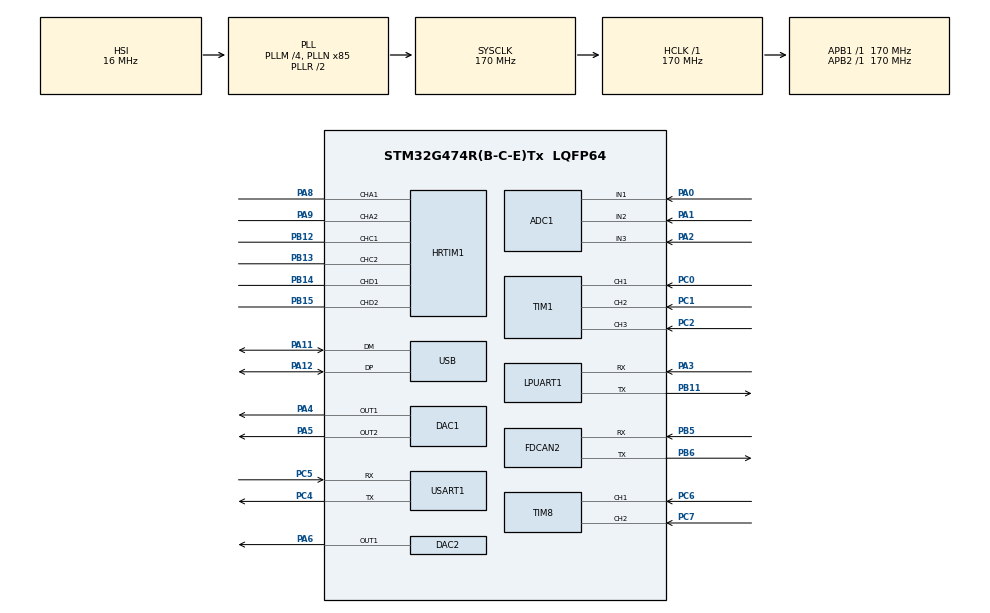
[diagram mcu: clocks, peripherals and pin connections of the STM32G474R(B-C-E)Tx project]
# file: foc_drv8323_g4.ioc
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ADC1.Channel-0\#ChannelRegularConversion=ADC_CHANNEL_1
ADC1.NbrOfConversionFlag=1
ADC1.OffsetNumber-0\#ChannelRegularConversion=ADC_OFFSET_NONE
ADC1.Rank-0\#ChannelRegularConversion=1
ADC1.SamplingTime-0\#ChannelRegularConversion=ADC_SAMPLETIME_2CYCLES_5
ADC1.master=1
DAC1.DAC_Channel-DAC_OUT2=DAC_CHANNEL_2
FDCAN2.CalculateBaudRateNominal=3541666
FDCAN2.CalculateTimeBitNominal=282
FDCAN2.CalculateTimeQuantumNominal=94.11764705882354
HRTIM1.CompareUnit1-Output_TA1TA2=HRTIM_COMPAREUNIT_1
HRTIM1.CompareUnit1-Output_TC1TC2=HRTIM_COMPAREUNIT_1
HRTIM1.CompareUnit1-Output_TD1TD2=HRTIM_COMPAREUNIT_1
HRTIM1.CompareValue1-Output_TA1TA2=0x8000
HRTIM1.CompareValue1-Output_TC1TC2=0x8000
HRTIM1.CompareValue1-Output_TD1TD2=0x8000
HRTIM1.Configuration_TA=Waveform
HRTIM1.Configuration_TC=Waveform
HRTIM1.Configuration_TD=Waveform
HRTIM1.Deadtimeconfig-Output_TA1TA2=HRTIM_TIMERINDEX_TIMER_A
HRTIM1.Deadtimeconfig-Output_TC1TC2=HRTIM_TIMERINDEX_TIMER_C
HRTIM1.Deadtimeconfig-Output_TD1TD2=HRTIM_TIMERINDEX_TIMER_D
HRTIM1.FallingValue-Output_TA1TA2=17
HRTIM1.FallingValue-Output_TC1TC2=17
HRTIM1.FallingValue-Output_TD1TD2=17
HRTIM1.NumberResetSource1-Output_TA1TA2=1
HRTIM1.NumberResetSource1-Output_TC1TC2=1
HRTIM1.NumberResetSource1-Output_TD1TD2=1
HRTIM1.NumberResetSource2_TA=1
HRTIM1.NumberResetSource2_TC=1
HRTIM1.NumberResetSource2_TD=1
HRTIM1.NumberSetSource1-Output_TA1TA2=1
HRTIM1.NumberSetSource1-Output_TC1TC2=1
HRTIM1.NumberSetSource1-Output_TD1TD2=1
HRTIM1.NumberSetSource2_TA=1
HRTIM1.NumberSetSource2_TC=1
HRTIM1.NumberSetSource2_TD=1
HRTIM1.Periode_TA=0xff00
HRTIM1.Periode_TC=0xff00
HRTIM1.Periode_TD=0xFF00
HRTIM1.PrescalerDead-Output_TA1TA2=HRTIM_TIMDEADTIME_PRESCALERRATIO_DIV1
HRTIM1.PrescalerDead-Output_TC1TC2=HRTIM_TIMDEADTIME_PRESCALERRATIO_DIV1
HRTIM1.PrescalerDead-Output_TD1TD2=HRTIM_TIMDEADTIME_PRESCALERRATIO_DIV1
HRTIM1.PrescalerRatio_TA=HRTIM_PRESCALERRATIO_MUL4
HRTIM1.PrescalerRatio_TC=HRTIM_PRESCALERRATIO_MUL4
HRTIM1.PrescalerRatio_TD=HRTIM_PRESCALERRATIO_MUL4
HRTIM1.ResetOutput1_Source1-Output_TA1TA2=HRTIM_OUTPUTRESET_TIMCMP1
HRTIM1.ResetOutput1_Source1-Output_TC1TC2=HRTIM_OUTPUTRESET_TIMCMP1
HRTIM1.ResetOutput1_Source1-Output_TD1TD2=HRTIM_OUTPUTRESET_TIMCMP1
HRTIM1.ResetOutput2_Source1-Output_TA1TA2=HRTIM_OUTPUTRESET_TIMPER
HRTIM1.ResetOutput2_Source1-Output_TC1TC2=HRTIM_OUTPUTRESET_TIMPER
HRTIM1.ResetOutput2_Source1-Output_TD1TD2=HRTIM_OUTPUTRESET_TIMPER
HRTIM1.RisingValue-Output_TA1TA2=17
HRTIM1.RisingValue-Output_TC1TC2=17
HRTIM1.RisingValue-Output_TD1TD2=17
HRTIM1.SetOutput1_Source1-Output_TA1TA2=HRTIM_OUTPUTSET_TIMPER
HRTIM1.SetOutput1_Source1-Output_TC1TC2=HRTIM_OUTPUTSET_TIMPER
HRTIM1.SetOutput1_Source1-Output_TD1TD2=HRTIM_OUTPUTSET_TIMPER
HRTIM1.SetOutput2_Source1-Output_TA1TA2=HRTIM_OUTPUTSET_TIMCMP1
HRTIM1.SetOutput2_Source1-Output_TC1TC2=HRTIM_OUTPUTSET_TIMCMP1
HRTIM1.SetOutput2_Source1-Output_TD1TD2=HRTIM_OUTPUTSET_TIMCMP1
Mcu.Family=STM32G4
Mcu.Name=STM32G474R(B-C-E)Tx
Mcu.Package=LQFP64
NVIC.PriorityGroup=NVIC_PRIORITYGROUP_4
NVIC.TIM1_BRK_TIM15_IRQn=true\:0\:0\:false\:false\:true\:true\:true\:true
NVIC.TIM1_CC_IRQn=true\:0\:0\:false\:false\:true\:true\:true\:true
NVIC.TIM1_TRG_COM_TIM17_IRQn=true\:0\:0\:false\:false\:true\:true\:true\:true
NVIC.TIM1_UP_TIM16_IRQn=true\:0\:0\:false\:false\:true\:true\:true\:true
PA0.Mode=IN1-Single-Ended
PA0.Signal=ADC1_IN1
PA1.Mode=IN2-Single-Ended
PA1.Signal=ADC1_IN2
PA11.Mode=Device
PA11.Signal=USB_DM
PA12.Mode=Device
PA12.Signal=USB_DP
PA13.Mode=Serial_Wire
PA13.Signal=SYS_JTMS-SWDIO
PA14.Mode=Serial_Wire
PA14.Signal=SYS_JTCK-SWCLK
PA2.Mode=IN3-Single-Ended
PA2.Signal=ADC1_IN3
PA3.Mode=Asynchronous
PA3.Signal=LPUART1_RX
PA4.Signal=COMP_DAC11_group
PA5.Signal=COMP_DAC12_group
PA6.Signal=COMP_DAC21_group
PA8.Mode=Output_TA1TA2
PA8.Signal=HRTIM1_CHA1
PA9.Mode=Output_TA1TA2
PA9.Signal=HRTIM1_CHA2
PB11.Mode=Asynchronous
PB11.Signal=LPUART1_TX
PB12.Mode=Output_TC1TC2
PB12.Signal=HRTIM1_CHC1
PB13.Mode=Output_TC1TC2
PB13.Signal=HRTIM1_CHC2
PB14.Mode=Output_TD1TD2
PB14.Signal=HRTIM1_CHD1
PB15.Mode=Output_TD1TD2
PB15.Signal=HRTIM1_CHD2
PB5.Mode=FDCAN_Activate
PB5.Signal=FDCAN2_RX
PB6.Mode=FDCAN_Activate
PB6.Signal=FDCAN2_TX
PC0.GPIO_PuPd=GPIO_PULLUP
PC0.Signal=S_TIM1_CH1
PC1.GPIO_PuPd=GPIO_PULLUP
PC1.Signal=S_TIM1_CH2
PC2.GPIO_PuPd=GPIO_PULLUP
PC2.Signal=S_TIM1_CH3
PC4.Mode=Asynchronous
PC4.Signal=USART1_TX
PC5.Mode=Asynchronous
PC5.Signal=USART1_RX
PC6.Signal=S_TIM8_CH1
PC7.Signal=S_TIM8_CH2
ProjectManager.HeapSize=0x200
ProjectManager.StackSize=0x400
ProjectManager.TargetToolchain=STM32CubeIDE
RCC.ADC12Freq_Value=170000000
RCC.ADC345Freq_Value=170000000
RCC.AHBFreq_Value=170000000
RCC.APB1Freq_Value=170000000
RCC.APB1TimFreq_Value=170000000
RCC.APB2Freq_Value=170000000
RCC.APB2TimFreq_Value=170000000
RCC.CK48CLockSelection=RCC_USBCLKSOURCE_HSI48
RCC.CortexFreq_Value=170000000
RCC.EXTERNAL_CLOCK_VALUE=12288000
RCC.HCLKFreq_Value=170000000
RCC.HSE_VALUE=8000000
RCC.HSI48_VALUE=48000000
RCC.HSI_VALUE=16000000
RCC.LSE_VALUE=32768
RCC.PLLM=RCC_PLLM_DIV4
RCC.PLLN=85
RCC.SYSCLKFreq_VALUE=170000000
RCC.SYSCLKSource=RCC_SYSCLKSOURCE_PLLCLK
RCC.USBFreq_Value=48000000
RCC.VCOOutputFreq_Value=340000000
SH.COMP_DAC11_group.0=DAC1_OUT1,DAC_OUT1
SH.COMP_DAC12_group.0=DAC1_OUT2,DAC_OUT2
SH.COMP_DAC21_group.0=DAC2_OUT1,DAC_OUT1
SH.S_TIM1_CH1.0=TIM1_CH1,Xored_Inputs_Hall_Sensor_Interface
SH.S_TIM1_CH2.0=TIM1_CH2,Xored_Inputs_Hall_Sensor_Interface
SH.S_TIM1_CH3.0=TIM1_CH3,Xored_Inputs_Hall_Sensor_Interface
SH.S_TIM8_CH1.0=TIM8_CH1,Encoder_Interface
SH.S_TIM8_CH2.0=TIM8_CH2,Encoder_Interface
USART1.VirtualMode-Asynchronous=VM_ASYNC
VP_HRTIM1_VS_hrtimMasterTimerNoOutput.Mode=MasterTimer
VP_SYS_VS_DBSignals.Mode=DisableDeadBatterySignals
VP_TIM1_VS_ClockSourceINT.Mode=Internal
board=custom

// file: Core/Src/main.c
/* USER CODE BEGIN Header */
/**
  ******************************************************************************
  * @file           : main.c
  * @brief          : Main program body
  ******************************************************************************
  * @attention
  *
  * Copyright (c) 2025 STMicroelectronics.
  * All rights reserved.
  *
  * This software is licensed under terms that can be found in the LICENSE file
  * in the root directory of this software component.
  * If no LICENSE file comes with this software, it is provided AS-IS.
  *
  ******************************************************************************
  */
/* USER CODE END Header */
#include "main.h"

/* USER CODE BEGIN Includes */
#include <stdio.h>
#include "arm_math.h"
#include "CO_app_STM32.h"
#include "math_helper.h"
#include "encoder_driver.h"
#include "pwm_driver.h"
#include "board_config.h"
/* USER CODE END Includes */

ADC_HandleTypeDef hadc1;

DAC_HandleTypeDef hdac1;
DAC_HandleTypeDef hdac2;

FDCAN_HandleTypeDef hfdcan2;

HRTIM_HandleTypeDef hhrtim1;

UART_HandleTypeDef hlpuart1;
UART_HandleTypeDef huart1;

TIM_HandleTypeDef htim1;
TIM_HandleTypeDef htim8;

PCD_HandleTypeDef hpcd_USB_FS;

void SystemClock_Config(void);
static void MX_GPIO_Init(void);
static void MX_ADC1_Init(void);
static void MX_HRTIM1_Init(void);
static void MX_USB_PCD_Init(void);
static void MX_DAC1_Init(void);
static void MX_DAC2_Init(void);
static void MX_TIM1_Init(void);
static void MX_USART1_UART_Init(void);
static void MX_FDCAN2_Init(void);
static void MX_TIM8_Init(void);
static void MX_LPUART1_UART_Init(void);

int main(void)
{

  /* MCU Configuration--------------------------------------------------------*/

  /* Reset of all peripherals, Initializes the Flash interface and the Systick. */
  HAL_Iit();

  /* Configure the system clock */
  SystemClock_Config();

  /* Initialize all configured peripherals */
  MX_GPIO_Init();
  MX_ADC1_Init();
  MX_HRTIM1_Init();
  MX_USB_PCD_Init();
  MX_DAC1_Init();
  MX_DAC2_Init();
  MX_TIM1_Init();
  MX_USART1_UART_Init();
  MX_FDCAN2_Init();
  MX_TIM8_Init();
  MX_LPUART1_UART_Init();
  /* USER CODE BEGIN 2 */

  // canopen init
  CANopenNodeSTM32 canOpenNodeSTM32;
  canOpenNodeSTM32.CANHandle = &hfdcan2;
  canOpenNodeSTM32.HWInitFunction = MX_FDCAN2_Init;
  //canOpenNodeSTM32.timerHandle = &htim17;
  canOpenNodeSTM32.desiredNodeID = 24;
  canOpenNodeSTM32.baudrate = 125;
  canopen_app_init(&canOpenNodeSTM32);

  encoder_init();

  math_clamp(5, 10, 15);

  encoder_init();
  drv8323_init();
  pwm_init();
  //test_charge_pump_active();
  //HAL_Delay(10);
  /* USER CODE END 2 */

  /* Infinite loop */
  /* USER CODE BEGIN WHILE */
  while (1)
  {
	  test_spin_high_voltage_6x_pwm_safe();
	  HAL_Delay(1);
	  //current_pos = encoder_get_position();
    /* USER CODE END WHILE */

  }
}

void SystemClock_Config(void)
{
  RCC_OscInitTypeDef RCC_OscInitStruct = {0};
  RCC_ClkInitTypeDef RCC_ClkInitStruct = {0};

  /** Configure the main internal regulator output voltage
  */
  HAL_PWREx_ControlVoltageScaling(PWR_REGULATOR_VOLTAGE_SCALE1_BOOST);

  /** Initializes the RCC Oscillators according to the specified parameters
  * in the RCC_OscInitTypeDef structure.
  */
  RCC_OscInitStruct.OscillatorType = RCC_OSCILLATORTYPE_HSI|RCC_OSCILLATORTYPE_HSI48;
  RCC_OscInitStruct.HSIState = RCC_HSI_ON;
  RCC_OscInitStruct.HSICalibrationValue = RCC_HSICALIBRATION_DEFAULT;
  RCC_OscInitStruct.HSI48State = RCC_HSI48_ON;
  RCC_OscInitStruct.PLL.PLLState = RCC_PLL_ON;
  RCC_OscInitStruct.PLL.PLLSource = RCC_PLLSOURCE_HSI;
  RCC_OscInitStruct.PLL.PLLM = RCC_PLLM_DIV4;
  RCC_OscInitStruct.PLL.PLLN = 85;
  RCC_OscInitStruct.PLL.PLLP = RCC_PLLP_DIV2;
  RCC_OscInitStruct.PLL.PLLQ = RCC_PLLQ_DIV2;
  RCC_OscInitStruct.PLL.PLLR = RCC_PLLR_DIV2;
  if (HAL_RCC_OscConfig(&RCC_OscInitStruct) != HAL_OK)
  {
    Error_Handler();
  }

  /** Initializes the CPU, AHB and APB buses clocks
  */
  RCC_ClkInitStruct.ClockType = RCC_CLOCKTYPE_HCLK|RCC_CLOCKTYPE_SYSCLK
                              |RCC_CLOCKTYPE_PCLK1|RCC_CLOCKTYPE_PCLK2;
  RCC_ClkInitStruct.SYSCLKSource = RCC_SYSCLKSOURCE_PLLCLK;
  RCC_ClkInitStruct.AHBCLKDivider = RCC_SYSCLK_DIV1;
  RCC_ClkInitStruct.APB1CLKDivider = RCC_HCLK_DIV1;
  RCC_ClkInitStruct.APB2CLKDivider = RCC_HCLK_DIV1;

  if (HAL_RCC_ClockConfig(&RCC_ClkInitStruct, FLASH_LATENCY_4) != HAL_OK)
  {
    Error_Handler();
  }
}

static void MX_ADC1_Init(void)
{

  ADC_MultiModeTypeDef multimode = {0};
  ADC_ChannelConfTypeDef sConfig = {0};

  /** Common config
  */
  hadc1.Instance = ADC1;
  hadc1.Init.ClockPrescaler = ADC_CLOCK_SYNC_PCLK_DIV4;
  hadc1.Init.Resolution = ADC_RESOLUTION_12B;
  hadc1.Init.DataAlign = ADC_DATAALIGN_RIGHT;
  hadc1.Init.GainCompensation = 0;
  hadc1.Init.ScanConvMode = ADC_SCAN_DISABLE;
  hadc1.Init.EOCSelection = ADC_EOC_SINGLE_CONV;
  hadc1.Init.LowPowerAutoWait = DISABLE;
  hadc1.Init.ContinuousConvMode = DISABLE;
  hadc1.Init.NbrOfConversion = 1;
  hadc1.Init.DiscontinuousConvMode = DISABLE;
  hadc1.Init.ExternalTrigConv = ADC_SOFTWARE_START;
  hadc1.Init.ExternalTrigConvEdge = ADC_EXTERNALTRIGCONVEDGE_NONE;
  hadc1.Init.DMAContinuousRequests = DISABLE;
  hadc1.Init.Overrun = ADC_OVR_DATA_PRESERVED;
  hadc1.Init.OversamplingMode = DISABLE;
  if (HAL_ADC_Init(&hadc1) != HAL_OK)
  {
    Error_Handler();
  }

  /** Configure the ADC multi-mode
  */
  multimode.Mode = ADC_MODE_INDEPENDENT;
  if (HAL_ADCEx_MultiModeConfigChannel(&hadc1, &multimode) != HAL_OK)
  {
    Error_Handler();
  }

  /** Configure Regular Channel
  */
  sConfig.Channel = ADC_CHANNEL_1;
  sConfig.Rank = ADC_REGULAR_RANK_1;
  sConfig.SamplingTime = ADC_SAMPLETIME_2CYCLES_5;
  sConfig.SingleDiff = ADC_SINGLE_ENDED;
  sConfig.OffsetNumber = ADC_OFFSET_NONE;
  sConfig.Offset = 0;
  if (HAL_ADC_ConfigChannel(&hadc1, &sConfig) != HAL_OK)
  {
    Error_Handler();
  }

}

static void MX_DAC1_Init(void)
{

  DAC_ChannelConfTypeDef sConfig = {0};

  /** DAC Initialization
  */
  hdac1.Instance = DAC1;
  if (HAL_DAC_Init(&hdac1) != HAL_OK)
  {
    Error_Handler();
  }

  /** DAC channel OUT1 config
  */
  sConfig.DAC_HighFrequency = DAC_HIGH_FREQUENCY_INTERFACE_MODE_AUTOMATIC;
  sConfig.DAC_DMADoubleDataMode = DISABLE;
  sConfig.DAC_SignedFormat = DISABLE;
  sConfig.DAC_SampleAndHold = DAC_SAMPLEANDHOLD_DISABLE;
  sConfig.DAC_Trigger = DAC_TRIGGER_NONE;
  sConfig.DAC_Trigger2 = DAC_TRIGGER_NONE;
  sConfig.DAC_OutputBuffer = DAC_OUTPUTBUFFER_ENABLE;
  sConfig.DAC_ConnectOnChipPeripheral = DAC_CHIPCONNECT_EXTERNAL;
  sConfig.DAC_UserTrimming = DAC_TRIMMING_FACTORY;
  if (HAL_DAC_ConfigChannel(&hdac1, &sConfig, DAC_CHANNEL_1) != HAL_OK)
  {
    Error_Handler();
  }

  /** DAC channel OUT2 config
  */
  if (HAL_DAC_ConfigChannel(&hdac1, &sConfig, DAC_CHANNEL_2) != HAL_OK)
  {
    Error_Handler();
  }

}

static void MX_DAC2_Init(void)
{

  DAC_ChannelConfTypeDef sConfig = {0};

  /** DAC Initialization
  */
  hdac2.Instance = DAC2;
  if (HAL_DAC_Init(&hdac2) != HAL_OK)
  {
    Error_Handler();
  }

  /** DAC channel OUT1 config
  */
  sConfig.DAC_HighFrequency = DAC_HIGH_FREQUENCY_INTERFACE_MODE_AUTOMATIC;
  sConfig.DAC_DMADoubleDataMode = DISABLE;
  sConfig.DAC_SignedFormat = DISABLE;
  sConfig.DAC_SampleAndHold = DAC_SAMPLEANDHOLD_DISABLE;
  sConfig.DAC_Trigger = DAC_TRIGGER_NONE;
  sConfig.DAC_Trigger2 = DAC_TRIGGER_NONE;
  sConfig.DAC_OutputBuffer = DAC_OUTPUTBUFFER_ENABLE;
  sConfig.DAC_ConnectOnChipPeripheral = DAC_CHIPCONNECT_EXTERNAL;
  sConfig.DAC_UserTrimming = DAC_TRIMMING_FACTORY;
  if (HAL_DAC_ConfigChannel(&hdac2, &sConfig, DAC_CHANNEL_1) != HAL_OK)
  {
    Error_Handler();
  }

}

static void MX_FDCAN2_Init(void)
{

  hfdcan2.Instance = FDCAN2;
  hfdcan2.Init.ClockDivider = FDCAN_CLOCK_DIV1;
  hfdcan2.Init.FrameFormat = FDCAN_FRAME_CLASSIC;
  hfdcan2.Init.Mode = FDCAN_MODE_NORMAL;
  hfdcan2.Init.AutoRetransmission = DISABLE;
  hfdcan2.Init.TransmitPause = DISABLE;
  hfdcan2.Init.ProtocolException = DISABLE;
  hfdcan2.Init.NominalPrescaler = 16;
  hfdcan2.Init.NominalSyncJumpWidth = 1;
  hfdcan2.Init.NominalTimeSeg1 = 1;
  hfdcan2.Init.NominalTimeSeg2 = 1;
  hfdcan2.Init.DataPrescaler = 1;
  hfdcan2.Init.DataSyncJumpWidth = 1;
  hfdcan2.Init.DataTimeSeg1 = 1;
  hfdcan2.Init.DataTimeSeg2 = 1;
  hfdcan2.Init.StdFiltersNbr = 0;
  hfdcan2.Init.ExtFiltersNbr = 0;
  hfdcan2.Init.TxFifoQueueMode = FDCAN_TX_FIFO_OPERATION;
  if (HAL_FDCAN_Init(&hfdcan2) != HAL_OK)
  {
    Error_Handler();
  }

}

static void MX_HRTIM1_Init(void)
{

  HRTIM_TimeBaseCfgTypeDef pTimeBaseCfg = {0};
  HRTIM_TimerCfgTypeDef pTimerCfg = {0};
  HRTIM_TimerCtlTypeDef pTimerCtl = {0};
  HRTIM_CompareCfgTypeDef pCompareCfg = {0};
  HRTIM_DeadTimeCfgTypeDef pDeadTimeCfg = {0};
  HRTIM_OutputCfgTypeDef pOutputCfg = {0};

  hhrtim1.Instance = HRTIM1;
  hhrtim1.Init.HRTIMInterruptResquests = HRTIM_IT_NONE;
  hhrtim1.Init.SyncOptions = HRTIM_SYNCOPTION_NONE;
  if (HAL_HRTIM_Init(&hhrtim1) != HAL_OK)
  {
    Error_Handler();
  }
  if (HAL_HRTIM_DLLCalibrationStart(&hhrtim1, HRTIM_CALIBRATIONRATE_3) != HAL_OK)
  {
    Error_Handler();
  }
  if (HAL_HRTIM_PollForDLLCalibration(&hhrtim1, 10) != HAL_OK)
  {
    Error_Handler();
  }
  pTimeBaseCfg.Period = 0xFFDF;
  pTimeBaseCfg.RepetitionCounter = 0x00;
  pTimeBaseCfg.PrescalerRatio = HRTIM_PRESCALERRATIO_MUL32;
  pTimeBaseCfg.Mode = HRTIM_MODE_CONTINUOUS;
  if (HAL_HRTIM_TimeBaseConfig(&hhrtim1, HRTIM_TIMERINDEX_MASTER, &pTimeBaseCfg) != HAL_OK)
  {
    Error_Handler();
  }
  pTimerCfg.InterruptRequests = HRTIM_MASTER_IT_NONE;
  pTimerCfg.DMARequests = HRTIM_MASTER_DMA_NONE;
  pTimerCfg.DMASrcAddress = 0x0000;
  pTimerCfg.DMADstAddress = 0x0000;
  pTimerCfg.DMASize = 0x1;
  pTimerCfg.HalfModeEnable = HRTIM_HALFMODE_DISABLED;
  pTimerCfg.InterleavedMode = HRTIM_INTERLEAVED_MODE_DISABLED;
  pTimerCfg.StartOnSync = HRTIM_SYNCSTART_DISABLED;
  pTimerCfg.ResetOnSync = HRTIM_SYNCRESET_DISABLED;
  pTimerCfg.DACSynchro = HRTIM_DACSYNC_NONE;
  pTimerCfg.PreloadEnable = HRTIM_PRELOAD_DISABLED;
  pTimerCfg.UpdateGating = HRTIM_UPDATEGATING_INDEPENDENT;
  pTimerCfg.BurstMode = HRTIM_TIMERBURSTMODE_MAINTAINCLOCK;
  pTimerCfg.RepetitionUpdate = HRTIM_UPDATEONREPETITION_DISABLED;
  pTimerCfg.ReSyncUpdate = HRTIM_TIMERESYNC_UPDATE_UNCONDITIONAL;
  if (HAL_HRTIM_WaveformTimerConfig(&hhrtim1, HRTIM_TIMERINDEX_MASTER, &pTimerCfg) != HAL_OK)
  {
    Error_Handler();
  }
  pTimeBaseCfg.Period = 0xff00;
  pTimeBaseCfg.PrescalerRatio = HRTIM_PRESCALERRATIO_MUL4;
  if (HAL_HRTIM_TimeBaseConfig(&hhrtim1, HRTIM_TIMERINDEX_TIMER_A, &pTimeBaseCfg) != HAL_OK)
  {
    Error_Handler();
  }
  pTimerCtl.UpDownMode = HRTIM_TIMERUPDOWNMODE_UP;
  pTimerCtl.GreaterCMP1 = HRTIM_TIMERGTCMP1_EQUAL;
  pTimerCtl.DualChannelDacEnable = HRTIM_TIMER_DCDE_DISABLED;
  if (HAL_HRTIM_WaveformTimerControl(&hhrtim1, HRTIM_TIMERINDEX_TIMER_A, &pTimerCtl) != HAL_OK)
  {
    Error_Handler();
  }
  pTimerCfg.InterruptRequests = HRTIM_TIM_IT_NONE;
  pTimerCfg.DMARequests = HRTIM_TIM_DMA_NONE;
  pTimerCfg.PushPull = HRTIM_TIMPUSHPULLMODE_DISABLED;
  pTimerCfg.FaultEnable = HRTIM_TIMFAULTENABLE_NONE;
  pTimerCfg.FaultLock = HRTIM_TIMFAULTLOCK_READWRITE;
  pTimerCfg.DeadTimeInsertion = HRTIM_TIMDEADTIMEINSERTION_DISABLED;
  pTimerCfg.DelayedProtectionMode = HRTIM_TIMER_A_B_C_DELAYEDPROTECTION_DISABLED;
  pTimerCfg.UpdateTrigger = HRTIM_TIMUPDATETRIGGER_NONE;
  pTimerCfg.ResetTrigger = HRTIM_TIMRESETTRIGGER_NONE;
  pTimerCfg.ResetUpdate = HRTIM_TIMUPDATEONRESET_DISABLED;
  if (HAL_HRTIM_WaveformTimerConfig(&hhrtim1, HRTIM_TIMERINDEX_TIMER_A, &pTimerCfg) != HAL_OK)
  {
    Error_Handler();
  }
  if (HAL_HRTIM_WaveformTimerConfig(&hhrtim1, HRTIM_TIMERINDEX_TIMER_C, &pTimerCfg) != HAL_OK)
  {
    Error_Handler();
  }
  pTimerCfg.DelayedProtectionMode = HRTIM_TIMER_D_E_DELAYEDPROTECTION_DISABLED;
  if (HAL_HRTIM_WaveformTimerConfig(&hhrtim1, HRTIM_TIMERINDEX_TIMER_D, &pTimerCfg) != HAL_OK)
  {
    Error_Handler();
  }
  pCompareCfg.CompareValue = 0x8000;
  if (HAL_HRTIM_WaveformCompareConfig(&hhrtim1, HRTIM_TIMERINDEX_TIMER_A, HRTIM_COMPAREUNIT_1, &pCompareCfg) != HAL_OK)
  {
    Error_Handler();
  }
  pDeadTimeCfg.Prescaler = HRTIM_TIMDEADTIME_PRESCALERRATIO_DIV1;
  pDeadTimeCfg.RisingValue = 17;
  pDeadTimeCfg.RisingSign = HRTIM_TIMDEADTIME_RISINGSIGN_POSITIVE;
  pDeadTimeCfg.RisingLock = HRTIM_TIMDEADTIME_RISINGLOCK_WRITE;
  pDeadTimeCfg.RisingSignLock = HRTIM_TIMDEADTIME_RISINGSIGNLOCK_WRITE;
  pDeadTimeCfg.FallingValue = 17;
  pDeadTimeCfg.FallingSign = HRTIM_TIMDEADTIME_FALLINGSIGN_POSITIVE;
  pDeadTimeCfg.FallingLock = HRTIM_TIMDEADTIME_FALLINGLOCK_WRITE;
  pDeadTimeCfg.FallingSignLock = HRTIM_TIMDEADTIME_FALLINGSIGNLOCK_WRITE;
  if (HAL_HRTIM_DeadTimeConfig(&hhrtim1, HRTIM_TIMERINDEX_TIMER_A, &pDeadTimeCfg) != HAL_OK)
  {
    Error_Handler();
  }
  if (HAL_HRTIM_DeadTimeConfig(&hhrtim1, HRTIM_TIMERINDEX_TIMER_C, &pDeadTimeCfg) != HAL_OK)
  {
    Error_Handler();
  }
  if (HAL_HRTIM_DeadTimeConfig(&hhrtim1, HRTIM_TIMERINDEX_TIMER_D, &pDeadTimeCfg) != HAL_OK)
  {
    Error_Handler();
  }
  pOutputCfg.Polarity = HRTIM_OUTPUTPOLARITY_HIGH;
  pOutputCfg.SetSource = HRTIM_OUTPUTSET_TIMPER;
  pOutputCfg.ResetSource = HRTIM_OUTPUTRESET_TIMCMP1;
  pOutputCfg.IdleMode = HRTIM_OUTPUTIDLEMODE_NONE;
  pOutputCfg.IdleLevel = HRTIM_OUTPUTIDLELEVEL_INACTIVE;
  pOutputCfg.FaultLevel = HRTIM_OUTPUTFAULTLEVEL_NONE;
  pOutputCfg.ChopperModeEnable = HRTIM_OUTPUTCHOPPERMODE_DISABLED;
  pOutputCfg.BurstModeEntryDelayed = HRTIM_OUTPUTBURSTMODEENTRY_REGULAR;
  if (HAL_HRTIM_WaveformOutputConfig(&hhrtim1, HRTIM_TIMERINDEX_TIMER_A, HRTIM_OUTPUT_TA1, &pOutputCfg) != HAL_OK)
  {
    Error_Handler();
  }
  if (HAL_HRTIM_WaveformOutputConfig(&hhrtim1, HRTIM_TIMERINDEX_TIMER_C, HRTIM_OUTPUT_TC1, &pOutputCfg) != HAL_OK)
  {
    Error_Handler();
  }
  if (HAL_HRTIM_WaveformOutputConfig(&hhrtim1, HRTIM_TIMERINDEX_TIMER_D, HRTIM_OUTPUT_TD1, &pOutputCfg) != HAL_OK)
  {
    Error_Handler();
  }
  pOutputCfg.SetSource = HRTIM_OUTPUTSET_TIMCMP1;
  pOutputCfg.ResetSource = HRTIM_OUTPUTRESET_TIMPER;
  if (HAL_HRTIM_WaveformOutputConfig(&hhrtim1, HRTIM_TIMERINDEX_TIMER_A, HRTIM_OUTPUT_TA2, &pOutputCfg) != HAL_OK)
  {
    Error_Handler();
  }
  if (HAL_HRTIM_WaveformOutputConfig(&hhrtim1, HRTIM_TIMERINDEX_TIMER_C, HRTIM_OUTPUT_TC2, &pOutputCfg) != HAL_OK)
  {
    Error_Handler();
  }
  if (HAL_HRTIM_WaveformOutputConfig(&hhrtim1, HRTIM_TIMERINDEX_TIMER_D, HRTIM_OUTPUT_TD2, &pOutputCfg) != HAL_OK)
  {
    Error_Handler();
  }
  if (HAL_HRTIM_TimeBaseConfig(&hhrtim1, HRTIM_TIMERINDEX_TIMER_C, &pTimeBaseCfg) != HAL_OK)
  {
    Error_Handler();
  }
  if (HAL_HRTIM_WaveformTimerControl(&hhrtim1, HRTIM_TIMERINDEX_TIMER_C, &pTimerCtl) != HAL_OK)
  {
    Error_Handler();
  }
  if (HAL_HRTIM_WaveformCompareConfig(&hhrtim1, HRTIM_TIMERINDEX_TIMER_C, HRTIM_COMPAREUNIT_1, &pCompareCfg) != HAL_OK)
  {
    Error_Handler();
  }
  pTimeBaseCfg.Period = 0xFF00;
  if (HAL_HRTIM_TimeBaseConfig(&hhrtim1, HRTIM_TIMERINDEX_TIMER_D, &pTimeBaseCfg) != HAL_OK)
  {
    Error_Handler();
  }
  if (HAL_HRTIM_WaveformTimerControl(&hhrtim1, HRTIM_TIMERINDEX_TIMER_D, &pTimerCtl) != HAL_OK)
  {
    Error_Handler();
  }
  if (HAL_HRTIM_WaveformCompareConfig(&hhrtim1, HRTIM_TIMERINDEX_TIMER_D, HRTIM_COMPAREUNIT_1, &pCompareCfg) != HAL_OK)
  {
    Error_Handler();
  }
  HAL_HRTIM_MspPostInit(&hhrtim1);

}

static void MX_LPUART1_UART_Init(void)
{

  hlpuart1.Instance = LPUART1;
  hlpuart1.Init.BaudRate = 209700;
  hlpuart1.Init.WordLength = UART_WORDLENGTH_8B;
  hlpuart1.Init.StopBits = UART_STOPBITS_1;
  hlpuart1.Init.Parity = UART_PARITY_NONE;
  hlpuart1.Init.Mode = UART_MODE_TX_RX;
  hlpuart1.Init.HwFlowCtl = UART_HWCONTROL_NONE;
  hlpuart1.Init.OneBitSampling = UART_ONE_BIT_SAMPLE_DISABLE;
  hlpuart1.Init.ClockPrescaler = UART_PRESCALER_DIV1;
  hlpuart1.AdvancedInit.AdvFeatureInit = UART_ADVFEATURE_NO_INIT;
  if (HAL_UART_Init(&hlpuart1) != HAL_OK)
  {
    Error_Handler();
  }
  if (HAL_UARTEx_SetTxFifoThreshold(&hlpuart1, UART_TXFIFO_THRESHOLD_1_8) != HAL_OK)
  {
    Error_Handler();
  }
  if (HAL_UARTEx_SetRxFifoThreshold(&hlpuart1, UART_RXFIFO_THRESHOLD_1_8) != HAL_OK)
  {
    Error_Handler();
  }
  if (HAL_UARTEx_DisableFifoMode(&hlpuart1) != HAL_OK)
  {
    Error_Handler();
  }

}

static void MX_USART1_UART_Init(void)
{

  huart1.Instance = USART1;
  huart1.Init.BaudRate = 115200;
  huart1.Init.WordLength = UART_WORDLENGTH_8B;
  huart1.Init.StopBits = UART_STOPBITS_1;
  huart1.Init.Parity = UART_PARITY_NONE;
  huart1.Init.Mode = UART_MODE_TX_RX;
  huart1.Init.HwFlowCtl = UART_HWCONTROL_NONE;
  huart1.Init.OverSampling = UART_OVERSAMPLING_16;
  huart1.Init.OneBitSampling = UART_ONE_BIT_SAMPLE_DISABLE;
  huart1.Init.ClockPrescaler = UART_PRESCALER_DIV1;
  huart1.AdvancedInit.AdvFeatureInit = UART_ADVFEATURE_NO_INIT;
  if (HAL_UART_Init(&huart1) != HAL_OK)
  {
    Error_Handler();
  }
  if (HAL_UARTEx_SetTxFifoThreshold(&huart1, UART_TXFIFO_THRESHOLD_1_8) != HAL_OK)
  {
    Error_Handler();
  }
  if (HAL_UARTEx_SetRxFifoThreshold(&huart1, UART_RXFIFO_THRESHOLD_1_8) != HAL_OK)
  {
    Error_Handler();
  }
  if (HAL_UARTEx_DisableFifoMode(&huart1) != HAL_OK)
  {
    Error_Handler();
  }

}

static void MX_TIM1_Init(void)
{

  TIM_ClockConfigTypeDef sClockSourceConfig = {0};
  TIM_HallSensor_InitTypeDef sConfig = {0};
  TIM_MasterConfigTypeDef sMasterConfig = {0};

  htim1.Instance = TIM1;
  htim1.Init.Prescaler = 0;
  htim1.Init.CounterMode = TIM_COUNTERMODE_UP;
  htim1.Init.Period = 65535;
  htim1.Init.ClockDivision = TIM_CLOCKDIVISION_DIV1;
  htim1.Init.RepetitionCounter = 0;
  htim1.Init.AutoReloadPreload = TIM_AUTORELOAD_PRELOAD_DISABLE;
  if (HAL_TIM_Base_Init(&htim1) != HAL_OK)
  {
    Error_Handler();
  }
  sClockSourceConfig.ClockSource = TIM_CLOCKSOURCE_INTERNAL;
  if (HAL_TIM_ConfigClockSource(&htim1, &sClockSourceConfig) != HAL_OK)
  {
    Error_Handler();
  }
  sConfig.IC1Polarity = TIM_ICPOLARITY_RISING;
  sConfig.IC1Prescaler = TIM_ICPSC_DIV1;
  sConfig.IC1Filter = 0;
  sConfig.Commutation_Delay = 0;
  if (HAL_TIMEx_HallSensor_Init(&htim1, &sConfig) != HAL_OK)
  {
    Error_Handler();
  }
  sMasterConfig.MasterOutputTrigger = TIM_TRGO_OC2REF;
  sMasterConfig.MasterOutputTrigger2 = TIM_TRGO2_RESET;
  sMasterConfig.MasterSlaveMode = TIM_MASTERSLAVEMODE_DISABLE;
  if (HAL_TIMEx_MasterConfigSynchronization(&htim1, &sMasterConfig) != HAL_OK)
  {
    Error_Handler();
  }

}

static void MX_TIM8_Init(void)
{

  TIM_Encoder_InitTypeDef sConfig = {0};
  TIM_MasterConfigTypeDef sMasterConfig = {0};

  htim8.Instance = TIM8;
  htim8.Init.Prescaler = 0;
  htim8.Init.CounterMode = TIM_COUNTERMODE_UP;
  htim8.Init.Period = 65535;
  htim8.Init.ClockDivision = TIM_CLOCKDIVISION_DIV1;
  htim8.Init.RepetitionCounter = 0;
  htim8.Init.AutoReloadPreload = TIM_AUTORELOAD_PRELOAD_DISABLE;
  sConfig.EncoderMode = TIM_ENCODERMODE_TI1;
  sConfig.IC1Polarity = TIM_ICPOLARITY_RISING;
  sConfig.IC1Selection = TIM_ICSELECTION_DIRECTTI;
  sConfig.IC1Prescaler = TIM_ICPSC_DIV1;
  sConfig.IC1Filter = 0;
  sConfig.IC2Polarity = TIM_ICPOLARITY_RISING;
  sConfig.IC2Selection = TIM_ICSELECTION_DIRECTTI;
  sConfig.IC2Prescaler = TIM_ICPSC_DIV1;
  sConfig.IC2Filter = 0;
  if (HAL_TIM_Encoder_Init(&htim8, &sConfig) != HAL_OK)
  {
    Error_Handler();
  }
  sMasterConfig.MasterOutputTrigger = TIM_TRGO_RESET;
  sMasterConfig.MasterOutputTrigger2 = TIM_TRGO2_RESET;
  sMasterConfig.MasterSlaveMode = TIM_MASTERSLAVEMODE_DISABLE;
  if (HAL_TIMEx_MasterConfigSynchronization(&htim8, &sMasterConfig) != HAL_OK)
  {
    Error_Handler();
  }

}

static void MX_USB_PCD_Init(void)
{

  hpcd_USB_FS.Instance = USB;
  hpcd_USB_FS.Init.dev_endpoints = 8;
  hpcd_USB_FS.Init.speed = PCD_SPEED_FULL;
  hpcd_USB_FS.Init.phy_itface = PCD_PHY_EMBEDDED;
  hpcd_USB_FS.Init.Sof_enable = DISABLE;
  hpcd_USB_FS.Init.low_power_enable = DISABLE;
  hpcd_USB_FS.Init.lpm_enable = DISABLE;
  hpcd_USB_FS.Init.battery_charging_enable = DISABLE;
  if (HAL_PCD_Init(&hpcd_USB_FS) != HAL_OK)
  {
    Error_Handler();
  }

}

static void MX_GPIO_Init(void)
{

  /* GPIO Ports Clock Enable */
  __HAL_RCC_GPIOC_CLK_ENABLE();
  __HAL_RCC_GPIOA_CLK_ENABLE();
  __HAL_RCC_GPIOB_CLK_ENABLE();

}

void Error_Handler(void)
{
  __disable_irq();
  while (1)
  {
  }
}
